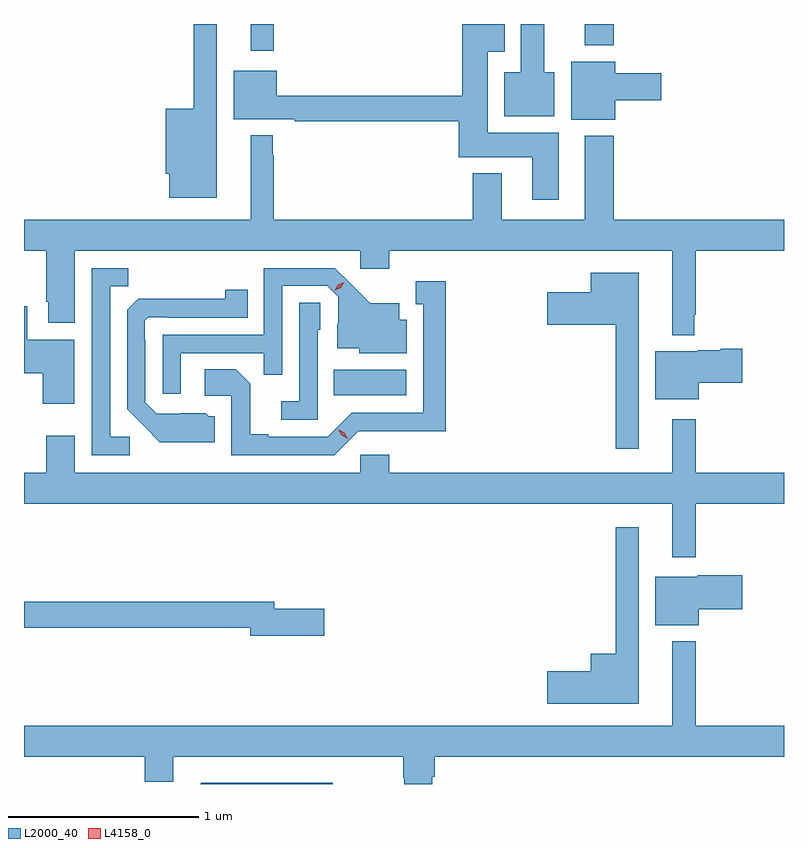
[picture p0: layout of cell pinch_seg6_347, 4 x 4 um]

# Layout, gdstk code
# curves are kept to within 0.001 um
import gdstk
lib = gdstk.Library(unit=1e-6, precision=1e-09)
def R(c, l, rs):  # rectangles x0, y0, x1, y1
    for r in rs: c.add(gdstk.rectangle(r[:2], r[2:], *l))
def P(c, l, *ps):  # polygons
    for p in ps: c.add(gdstk.Polygon(p, *l))
L2000_40 = (2000, 40)
L4158_0 = (4158, 0)

pinch_seg6_347 = lib.new_cell('pinch_seg6_347')
R(pinch_seg6_347, L2000_40, [(754.75,942.578,755.131,942.712), (754.313,944.391,754.435,944.533), (756.071,944.42,756.224,944.533)])
P(pinch_seg6_347, L2000_40, [(754.135,944.533),(754.014,944.533),(754.014,944.086),(753.866,944.086),(753.866,943.746),(753.884,943.746),(753.884,943.619),(754.135,943.619)],
  [(755.935,943.96),(755.56,943.96),(755.56,944.387),(755.65,944.387),(755.65,944.533),(755.426,944.533),(755.426,944.156),(754.45,944.156),(754.45,944.287),(754.223,944.287),(754.223,944.033),(754.546,944.033),(754.546,944.02),(755.408,944.02),(755.408,943.832),(755.795,943.832),(755.795,943.608),(755.935,943.608)],
  [(755.911,944.278),(755.857,944.278),(755.857,944.533),(755.735,944.533),(755.735,944.278),(755.648,944.278),(755.648,944.048),(755.911,944.048)],
  [(756.232,944.132),(756.475,944.132),(756.475,944.274),(756.232,944.274),(756.232,944.335),(755.999,944.335),(755.999,944.03),(756.232,944.03)],
  [(756.647,943.003),(756.655,943.003),(756.655,943.34),(757.12,943.34),(757.12,943.504),(756.224,943.504),(756.224,943.945),(756.071,943.945),(756.071,943.504),(755.635,943.504),(755.635,943.747),(755.483,943.747),(755.483,943.504),(754.435,943.504),(754.435,943.841),(754.428,943.841),(754.428,943.948),(754.313,943.948),(754.313,943.504),(753.12,943.504),(753.12,943.34),(753.236,943.34),(753.236,943.072),(753.248,943.072),(753.248,942.96),(753.388,942.96),(753.388,943.34),(754.89,943.34),(754.89,943.245),(755.042,943.245),(755.042,943.34),(756.533,943.34),(756.533,942.896),(756.647,942.896)],
  [(753.676,942.36),(753.573,942.36),(753.573,943.153),(753.669,943.153),(753.669,943.248),(753.477,943.248),(753.477,942.264),(753.676,942.264)],
  [(753.945,942.801),(754.381,942.801),(754.381,942.688),(754.479,942.688),(754.479,943.155),(754.716,943.155),(754.773,943.098),(754.773,942.956),(754.769,942.956),(754.769,942.827),(754.884,942.827),(754.884,942.8),(755.134,942.8),(755.134,942.976),(755.095,942.976),(755.095,943.063),(754.943,943.063),(754.756,943.248),(754.383,943.248),(754.383,942.897),(753.849,942.897),(753.849,942.588),(753.945,942.588)],
  [(756.355,943.225),(756.104,943.225),(756.104,943.12),(755.874,943.12),(755.874,942.95),(756.234,942.95),(756.234,942.297),(756.355,942.297)],
  [(754.878,942.39),(755.341,942.389),(755.341,943.18),(755.183,943.18),(755.183,943.059),(755.222,943.059),(755.222,942.486),(754.845,942.486),(754.719,942.36),(754.405,942.36),(754.405,942.373),(754.311,942.373),(754.311,942.64),(754.235,942.716),(754.071,942.716),(754.071,942.576),(754.212,942.576),(754.212,942.264),(754.752,942.264)],
  [(754.123,942.468),(754.092,942.468),(754.076,942.484),(753.819,942.483),(753.759,942.543),(753.759,942.872),(753.756,942.872),(753.756,942.972),(753.774,942.99),(753.874,942.99),(753.874,942.987),(754.298,942.987),(754.298,943.135),(754.18,943.135),(754.18,943.088),(753.722,943.087),(753.663,943.028),(753.663,942.506),(753.835,942.332),(754.123,942.332)],
  [(754.665,942.924),(754.68,942.924),(754.68,943.067),(754.569,943.067),(754.569,942.547),(754.473,942.547),(754.473,942.45),(754.665,942.45)],
  [(753.385,942.871),(753.136,942.871),(753.136,943.048),(753.12,943.048),(753.12,942.695),(753.218,942.695),(753.218,942.534),(753.385,942.534)],
  [(756.67,942.646),(756.901,942.646),(756.901,942.824),(756.788,942.824),(756.788,942.817),(756.666,942.817),(756.666,942.811),(756.443,942.811),(756.443,942.557),(756.67,942.557)],
  [(756.655,942.008),(757.12,942.008),(757.12,942.172),(756.655,942.172),(756.655,942.454),(756.533,942.454),(756.533,942.172),(755.042,942.172),(755.042,942.265),(754.89,942.265),(754.89,942.172),(753.388,942.172),(753.388,942.367),(753.236,942.367),(753.236,942.172),(753.12,942.172),(753.12,942.008),(756.533,942.008),(756.533,941.727),(756.655,941.727)],
  [(756.355,941.884),(756.234,941.884),(756.234,941.218),(756.104,941.218),(756.104,941.126),(755.874,941.126),(755.874,940.955),(756.355,940.955)],
  [(756.67,941.453),(756.901,941.453),(756.901,941.631),(756.666,941.631),(756.666,941.623),(756.443,941.623),(756.443,941.369),(756.67,941.369)],
  [(754.699,941.456),(754.438,941.456),(754.438,941.492),(753.12,941.492),(753.12,941.356),(754.31,941.356),(754.31,941.314),(754.699,941.314)],
  [(755.269,940.57),(755.282,940.57),(755.282,940.676),(757.12,940.676),(757.12,940.84),(756.655,940.84),(756.655,941.284),(756.533,941.284),(756.533,940.84),(753.12,940.84),(753.12,940.676),(753.755,940.676),(753.755,940.545),(753.906,940.545),(753.906,940.676),(755.117,940.676),(755.117,940.563),(755.122,940.563),(755.122,940.533),(755.269,940.533)],
  [(754.744,940.54),(754.054,940.54),(754.047,940.533),(754.744,940.533)])
P(pinch_seg6_347, L4158_0, [(754.824,942.35),(754.792,942.369),(754.773,942.401),(754.773,942.401),(754.774,942.401),(754.806,942.383),(754.824,942.351),(754.824,942.35)],
  [(754.756,943.131),(754.756,943.131),(754.774,943.16),(754.806,943.175),(754.806,943.175),(754.806,943.174),(754.788,943.145),(754.757,943.131)])

lib.write_gds('pinch_seg6_347.gds')
